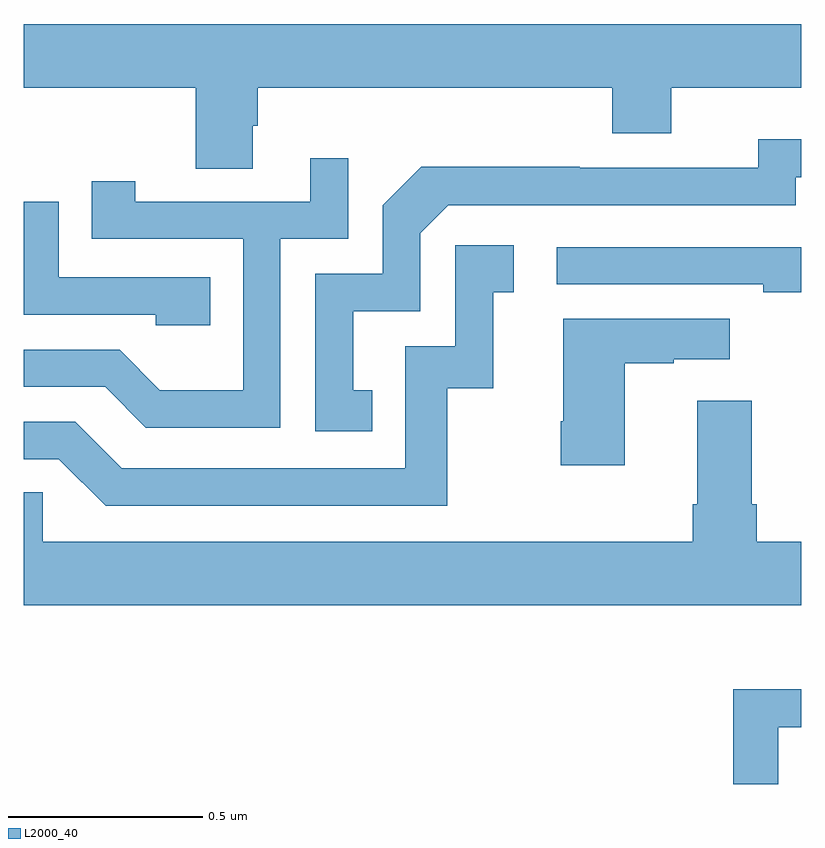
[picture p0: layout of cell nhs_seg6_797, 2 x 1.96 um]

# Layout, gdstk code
import gdstk
lib = gdstk.Library(unit=1e-6, precision=1e-09)
def P(c, l, *ps):  # polygons
    for p in ps: c.add(gdstk.Polygon(p, *l))
L2000_40 = (2000, 40)

nhs_seg6_797 = lib.new_cell('nhs_seg6_797')
P(nhs_seg6_797, L2000_40, [(120.589,991.194),(120.602,991.194),(120.602,991.292),(121.514,991.292),(121.514,991.175),(121.666,991.175),(121.666,991.292),(122,991.292),(122,991.456),(120,991.456),(120,991.292),(120.442,991.292),(120.442,991.084),(120.589,991.084)],
  [(120.896,990.513),(120.847,990.513),(120.847,990.717),(121.02,990.717),(121.02,990.918),(121.092,990.99),(121.986,990.99),(121.986,991.062),(122,991.062),(122,991.159),(121.89,991.159),(121.89,991.086),(121.43,991.086),(121.43,991.088),(121.022,991.088),(120.924,990.99),(120.924,990.813),(120.75,990.813),(120.75,990.408),(120.896,990.408)],
  [(120.66,990.903),(120.834,990.903),(120.834,991.111),(120.737,991.111),(120.737,990.999),(120.286,990.999),(120.286,991.051),(120.175,991.051),(120.175,990.903),(120.564,990.903),(120.564,990.514),(120.35,990.514),(120.246,990.618),(120,990.618),(120,990.522),(120.209,990.522),(120.314,990.417),(120.66,990.417)],
  [(120.479,990.804),(120.09,990.804),(120.09,990.999),(120,990.999),(120,990.708),(120.339,990.708),(120.339,990.681),(120.479,990.681)],
  [(121.09,990.519),(121.208,990.519),(121.208,990.765),(121.261,990.765),(121.261,990.886),(121.11,990.886),(121.11,990.627),(120.981,990.627),(120.981,990.312),(120.252,990.312),(120.132,990.432),(120,990.432),(120,990.336),(120.09,990.336),(120.21,990.216),(121.09,990.216)],
  [(122,990.882),(121.371,990.882),(121.371,990.786),(121.903,990.786),(121.903,990.766),(122,990.766)],
  [(121.546,990.583),(121.673,990.583),(121.673,990.593),(121.816,990.593),(121.816,990.697),(121.388,990.697),(121.388,990.433),(121.381,990.433),(121.381,990.321),(121.546,990.321)],
  [(122,990.124),(121.886,990.124),(121.886,990.22),(121.873,990.22),(121.873,990.487),(121.733,990.487),(121.733,990.22),(121.721,990.22),(121.721,990.124),(120.048,990.124),(120.048,990.251),(120,990.251),(120,989.96),(122,989.96)],
  [(121.941,989.646),(122,989.646),(122,989.744),(121.825,989.744),(121.825,989.5),(121.941,989.5)])

lib.write_gds('nhs_seg6_797.gds')
